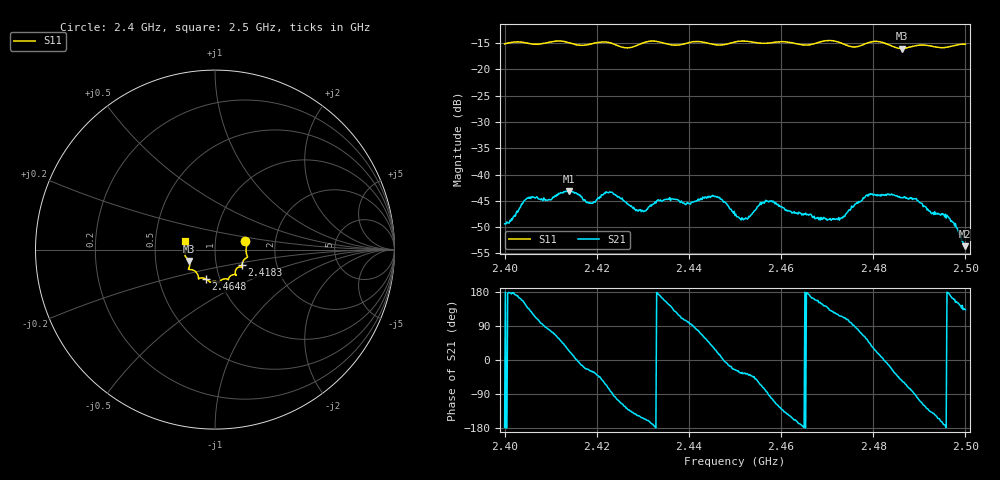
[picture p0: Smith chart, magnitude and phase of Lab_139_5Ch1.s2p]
# Hz S RI R 50
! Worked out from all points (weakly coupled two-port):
!   601 points, 2.4 GHz to 2.5 GHz, reference 50 ohm
!   highest |S21| = -43.12 dB at 2.414 GHz (marker M1); lowest = -53.6 dB at 2.4998 GHz (marker M2)
!   lowest |S11| = -16.0 dB at 2.4862 GHz (marker M3), VSWR 1.38, Z = 37.1 - j4.8 ohm
!   |S11| at or under -10 dB: start of sweep to end of sweep
!   S12 and S22 are empty: the file has one direction only
!   S11 on the Smith chart (normalised r, x): 2.4 GHz: 1.40, +0.13; 2.4183 GHz: 1.33, -0.24; 2.4648 GHz: 0.86, -0.29; 2.5 GHz: 0.71, +0.07
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2.4e9  0.1688 0.046  -0.0034 -0.000158  0 0  0 0
2.405e9  0.176 0.0191  -0.00439 0.00404  0 0  0 0
2.414e9  0.1725 -0.0477  0.00639 0.00283  0 0  0 0
2.416667e9  0.1548 -0.0683  0.00599 -0.0015  0 0  0 0
2.418333e9  0.1496 -0.0868  0.00479 -0.00235  0 0  0 0
2.4225e9  0.1513 -0.0988  0.00184 -0.00643  0 0  0 0
2.428667e9  0.1127 -0.1257  -0.00385 -0.0026  0 0  0 0
2.433333e9  0.1167 -0.1414  -0.00573 0.000607  0 0  0 0
2.439833e9  0.076 -0.1621  -0.000862 0.00523  0 0  0 0
2.445667e9  0.0561 -0.1626  0.00553 0.00282  0 0  0 0
2.45e9  0.0252 -0.1807  0.00368 -0.00176  0 0  0 0
2.452333e9  0.0202 -0.1844  0.00308 -0.00234  0 0  0 0
2.457167e9  -0.0112 -0.1773  6.77e-05 -0.00556  0 0  0 0
2.464833e9  -0.0514 -0.163  -0.00412 -0.000314  0 0  0 0
2.466667e9  -0.0714 -0.1576  -0.00388 0.00116  0 0  0 0
2.472833e9  -0.0918 -0.154  -0.00167 0.00344  0 0  0 0
2.478833e9  -0.1406 -0.1107  0.00396 0.00481  0 0  0 0
2.483333e9  -0.1424 -0.0958  0.00626 -0.00147  0 0  0 0
2.486167e9  -0.1448 -0.0631  0.00358 -0.00484  0 0  0 0
2.496167e9  -0.1619 0.0185  -0.00398 0.000149  0 0  0 0
2.499833e9  -0.1672 0.0466  -0.00147 0.00147  0 0  0 0
2.5e9  -0.1669 0.0472  -0.00145 0.00158  0 0  0 0
